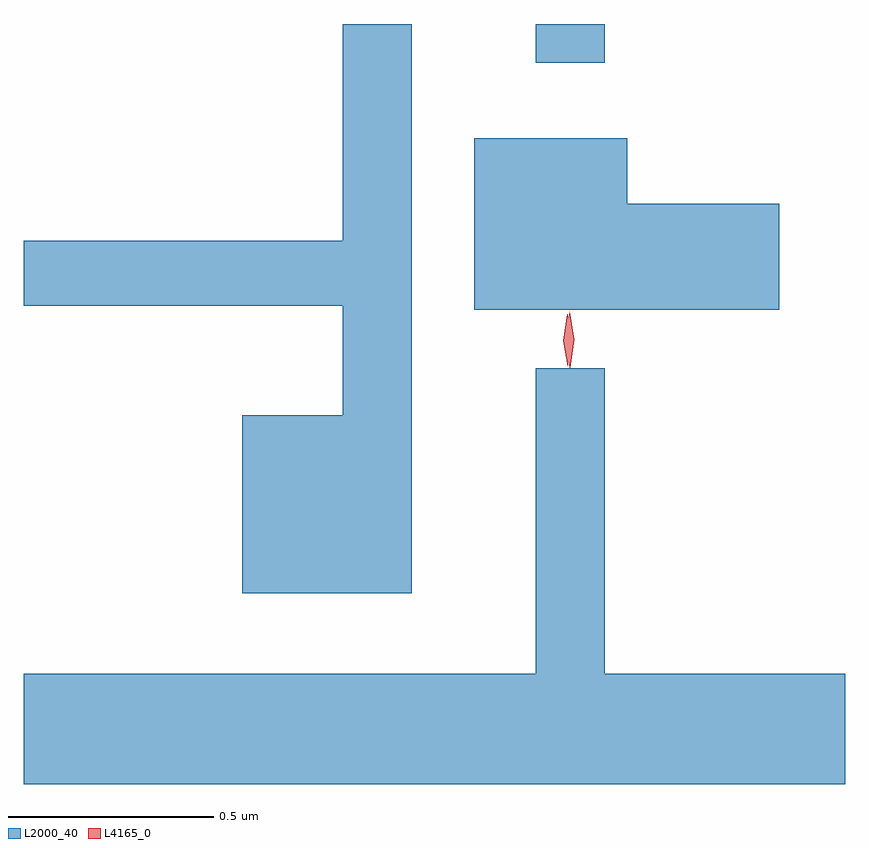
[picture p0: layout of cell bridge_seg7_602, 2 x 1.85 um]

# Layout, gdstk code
import gdstk
lib = gdstk.Library(unit=1e-6, precision=1e-09)
def R(c, l, rs):  # rectangles x0, y0, x1, y1
    for r in rs: c.add(gdstk.rectangle(r[:2], r[2:], *l))
def P(c, l, *ps):  # polygons
    for p in ps: c.add(gdstk.Polygon(p, *l))
L2000_40 = (2000, 40)
L4165_0 = (4165, 0)

bridge_seg7_602 = lib.new_cell('bridge_seg7_602')
R(bridge_seg7_602, L2000_40, [(705.151,1747.153,705.319,1747.247)])
P(bridge_seg7_602, L2000_40, [(704.849,1747.247),(704.681,1747.247),(704.681,1746.719),(703.904,1746.719),(703.904,1746.561),(704.681,1746.561),(704.681,1746.294),(704.436,1746.294),(704.436,1745.861),(704.849,1745.861)],
  [(705.744,1746.809),(705.374,1746.809),(705.374,1746.969),(705.001,1746.969),(705.001,1746.551),(705.744,1746.551)],
  [(705.904,1745.664),(705.319,1745.664),(705.319,1746.408),(705.151,1746.408),(705.151,1745.664),(703.904,1745.664),(703.904,1745.396),(705.904,1745.396)])
P(bridge_seg7_602, L4165_0, [(705.234,1746.41),(705.224,1746.478),(705.233,1746.546),(705.234,1746.546),(705.234,1746.546),(705.244,1746.478),(705.235,1746.41),(705.235,1746.41)],
  [(705.228,1746.413),(705.228,1746.413),(705.218,1746.476),(705.227,1746.54),(705.228,1746.54),(705.228,1746.54),(705.238,1746.476),(705.229,1746.413)])

lib.write_gds('bridge_seg7_602.gds')
